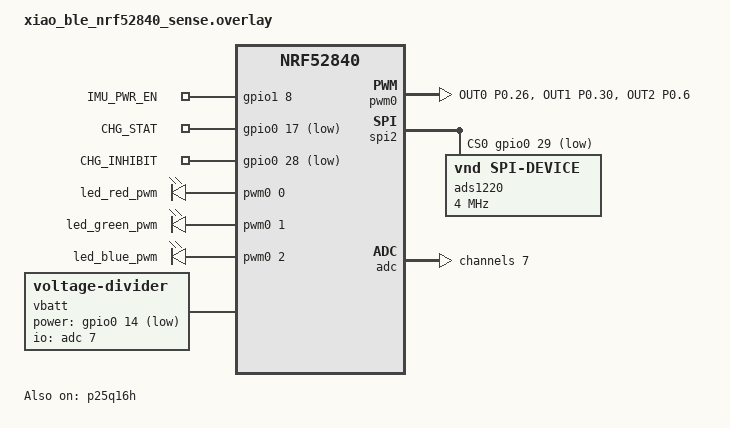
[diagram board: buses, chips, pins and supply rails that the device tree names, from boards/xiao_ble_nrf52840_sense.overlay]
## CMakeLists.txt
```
#
# Low-power BLE NUS demo for Seeed XIAO nRF52840 Sense
# nRF Connect SDK v3.3.0
#
cmake_minimum_required(VERSION 3.20.0)

find_package(Zephyr REQUIRED HINTS $ENV{ZEPHYR_BASE})
project(xiao_lp_ble)

target_sources(app PRIVATE
	src/main.c
	src/ads1220.c
)

target_include_directories(app PRIVATE src)
```

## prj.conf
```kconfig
#######################################################################
# prj.conf - Low-power BLE NUS for XIAO nRF52840 Sense (NCS v3.3.0)
#
# Goal: minimum standby (System ON idle) current while
#   - advertising every 1.5 s
#   - streaming weight + temperature over NUS once connected
#
# All non-essential peripherals are disabled. Console/UART are off so
# the CPU can hit the WFE idle path and the HFCLK can stop between
# radio events. RTT is also disabled here; turn it on temporarily for
# debug only - it costs current.
#######################################################################

# ---- Bluetooth core -------------------------------------------------
CONFIG_BT=y
CONFIG_BT_PERIPHERAL=y
CONFIG_BT_DEVICE_NAME="Bluemax_dev"
CONFIG_BT_DEVICE_APPEARANCE=0
CONFIG_BT_MAX_CONN=1
CONFIG_BT_MAX_PAIRED=1
CONFIG_BT_GATT_DYNAMIC_DB=y

# Coded PHY (125 kbps, S=8 FEC) — request after connection if peer supports it.
# BT_PHY_UPDATE enables the procedure; BT_USER_PHY_UPDATE exposes bt_conn_le_phy_update().
# BT_CTLR_PHY_CODED tells the SoftDevice Controller to support Coded PHY on the
# radio — without it the controller rejects PHY update requests silently and
# the link stays on 1M PHY regardless of what the host asks for.
CONFIG_BT_PHY_UPDATE=y
CONFIG_BT_USER_PHY_UPDATE=y
CONFIG_BT_CTLR_PHY_CODED=y

# Maximum TX power: +8 dBm (nRF52840 hardware limit).
CONFIG_BT_CTLR_TX_PWR_PLUS_8=y

# ---- Nordic UART Service (peripheral) -------------------------------
CONFIG_BT_NUS=y

# GATT client enables bt_gatt_exchange_mtu() so we can negotiate a larger ATT
# MTU.  Without this, the default ATT MTU is 23 (20-byte payload) which is
# not enough for "P:92 Charge Complete\n" (21 bytes).
CONFIG_BT_GATT_CLIENT=y

# Advertise ATT MTU = 64 in the exchange request so bt_gatt_exchange_mtu()
# negotiates min(64, peer_mtu) >= 64.  ATT payload = 61 bytes, enough for
# the longest P: message "P:100 Charging Inhibited Cold\n" (30 bytes).
# Without this, the request says "my MTU = 23" and negotiation does nothing.
CONFIG_BT_L2CAP_TX_MTU=64

# Explicit pool sizes — belt-and-suspenders against NCS SDC Kconfig overrides.
CONFIG_BT_BUF_ACL_TX_COUNT=6
CONFIG_BT_CONN_TX_MAX=6
CONFIG_BT_ATT_TX_COUNT=6

# ---- Power management ----------------------------------------------
# PM_DEVICE enables pm_device_action_run() used to suspend the QSPI flash.
# System ON idle (WFE) is handled by the idle thread natively on nRF52840;
# CONFIG_PM (SoC-level state transitions) is not needed and not supported
# on this target in NCS v3.3.0.
CONFIG_PM_DEVICE=y

# Tickless kernel is required for the SoC to actually stay asleep
# between events instead of waking up on every system tick.
CONFIG_TICKLESS_KERNEL=y

# Lower the tick rate - reduces the worst-case wake interval the
# kernel may impose. 1 kHz is fine; lower is also OK.
CONFIG_SYS_CLOCK_TICKS_PER_SEC=1000

# ---- Strip everything that costs current ---------------------------
# No console, no shell, no UART.
CONFIG_SERIAL=n
CONFIG_CONSOLE=n
CONFIG_UART_CONSOLE=n
CONFIG_USB_DEVICE_STACK=n
CONFIG_BOOT_BANNER=n
CONFIG_LOG=n
CONFIG_ASSERT=n

# ---- IMU / external flash power-down -------------------------------
# We need device init callbacks to run for the GPIOs and the QSPI
# flash power-down sequence. GPIO driver stays in; QSPI driver too,
# but only briefly so we can issue the DPD command.
CONFIG_GPIO=y
CONFIG_PWM=y
CONFIG_SPI=y
CONFIG_ADC=y

# QSPI / NOR flash driver - on for one-shot DPD, then we let the
# device get suspended.
CONFIG_FLASH=y
CONFIG_NORDIC_QSPI_NOR=y

# ---- Flash layout (no bootloader) ---------------------------------
# The xiao_ble board default sets CONFIG_USE_DT_CODE_PARTITION=y, which
# reads FLASH_LOAD_OFFSET directly from the DTS chosen/code-partition
# node (0x27000 in nrf52840_partition_uf2_sdv7.dtsi — the UF2 bootloader
# layout).  Disabling it lets the Kconfig values below take effect.
# CONFIG_BUILD_OUTPUT_UF2 is also suppressed; we program via SWD only.
CONFIG_USE_DT_CODE_PARTITION=n
CONFIG_BUILD_OUTPUT_UF2=n
CONFIG_FLASH_LOAD_OFFSET=0x0
CONFIG_FLASH_LOAD_SIZE=0x100000

# ---- Misc ----------------------------------------------------------
CONFIG_BT_RX_STACK_SIZE=2048
CONFIG_HEAP_MEM_POOL_SIZE=2048

# Use the Nordic LL with low-power tweaks
CONFIG_BT_LL_SOFTDEVICE=y
```

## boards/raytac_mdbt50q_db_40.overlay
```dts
/*
 * Clean minimal overlay for Raytac MDBT50Q-DB-40 - Bluetooth only
 */

&uart0 { status = "disabled"; };
&uart1 { status = "disabled"; };

&spi2 { status = "disabled"; };
&adc  { status = "disabled"; };
&pwm0 { status = "disabled"; };

/* On-board LEDs */
&led0 { status = "okay"; };
&led1 { status = "okay"; };
&led2 { status = "okay"; };
```

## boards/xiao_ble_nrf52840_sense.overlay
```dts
/*
 * boards/xiao_ble_nrf52840_sense.overlay
 */
#include <dt-bindings/adc/nrf-saadc.h>
#include <dt-bindings/pwm/pwm.h>
/*
 *
 * Low-power overlay for the Seeed XIAO nRF52840 Sense (NCS v3.3.0,
 * board target: xiao_ble/nrf52840/sense).
 *
 *  - Disable the on-board IMU and the I2C bus that serves it.
 *  - Drive P1.08 (IMU/PDM-mic power-enable, active-high) low at boot
 *    via a regulator-fixed node, hard-powering the LSM6DS3TR-C off.
 *  - Disable unused UART/SPI/PWM/ADC nodes so their drivers don't init.
 *  - Override the QSPI 'sleep' pinctrl state so that during sleep the
 *    QSPI CS line stays pulled up rather than floating. Without this,
 *    the P25Q16H can fail to remain in Deep Power Down on the XIAO.
 *    See: zephyrproject-rtos/zephyr#55543 and the Nordic DevZone
 *    thread "External flash to sleep".
 */

/* ------------------------------------------------------------------ *
 *  IMU + its I2C bus
 * ------------------------------------------------------------------ */
&i2c0 {
	status = "disabled";
};

&lsm6ds3tr_c {
	status = "disabled";
};

/* ------------------------------------------------------------------ *
 *  IMU / PDM mic supply switch (P1.08, active-high).
 *
 *  We just expose the pin via a custom node so the application can
 *  drive it low at boot. No regulator framework involved.
 * ------------------------------------------------------------------ */
/ {
	board_pwr: board_pwr {
		compatible = "gpio-keys";   /* generic node with a 'gpios' phandle */
		imu_pwr_gpio: imu_pwr {
			gpios = <&gpio1 8 GPIO_ACTIVE_HIGH>;
			label = "IMU_PWR_EN";
		};
		/* BQ25101 CHG pin — open-drain, driven LOW while charging.
		 * Pull-up required; active-low so gpio_pin_get_dt() returns 1
		 * when charging is in progress. */
		chg_stat_gpio: chg_stat {
			gpios = <&gpio0 17 (GPIO_ACTIVE_LOW | GPIO_PULL_UP)>;
			label = "CHG_STAT";
		};
		/* Charge-inhibit output to BQ25101 CE pin.
		 * Open-drain: floating (high-Z) = charging allowed;
		 * driven LOW = charging inhibited. */
		chg_inhibit_gpio: chg_inhibit {
			gpios = <&gpio0 28 (GPIO_ACTIVE_LOW | GPIO_OPEN_DRAIN)>;
			label = "CHG_INHIBIT";
		};
	};
};

/* ------------------------------------------------------------------ *
 *  Unused peripherals - prevent their drivers from initialising.
 * ------------------------------------------------------------------ */
&uart0 { status = "disabled"; };
&uart1 { status = "disabled"; };

/* ------------------------------------------------------------------ *
 *  RGB LED — charging status indicator
 *
 *  XIAO nRF52840 onboard RGB (common anode → 3.3 V):
 *    Red   cathode → P0.26
 *    Green cathode → P0.30  (driven via PWM0 channel 0 for fade)
 *    Blue  cathode → P0.06
 *
 *  All GPIOs declared ACTIVE_LOW so gpio_pin_set_dt(spec, 1) = LED on.
 *  PWM polarity is inverted: pulse_ns == period_ns = fully on,
 *  pulse_ns == 0 = fully off.
 * ------------------------------------------------------------------ */
&pwm0 {
	status = "okay";
	pinctrl-0 = <&pwm0_led_default>;
	pinctrl-1 = <&pwm0_led_sleep>;
	pinctrl-names = "default", "sleep";
};

/ {
	rgb_pwm_leds {
		compatible = "pwm-leds";
		led_red_pwm: led_red_pwm {
			pwms = <&pwm0 0 PWM_MSEC(1) PWM_POLARITY_INVERTED>;
		};
		led_green_pwm: led_green_pwm {
			pwms = <&pwm0 1 PWM_MSEC(1) PWM_POLARITY_INVERTED>;
		};
		led_blue_pwm: led_blue_pwm {
			pwms = <&pwm0 2 PWM_MSEC(1) PWM_POLARITY_INVERTED>;
		};
	};
};

/* ------------------------------------------------------------------ *
 *  SPI2 (xiao_spi) — ADS1220 temperature/ADC
 *
 *  D8 = P1.13 (SCK), D9 = P1.14 (MISO), D10 = P1.15 (MOSI)
 *  D3 = P0.29 (CS, active-low)
 *
 *  Pinctrl states spi2_default / spi2_sleep are already defined in
 *  xiao_ble-pinctrl.dtsi and referenced by the board's common DTS.
 * ------------------------------------------------------------------ */
&spi2 {
	status = "okay";
	cs-gpios = <&gpio0 29 GPIO_ACTIVE_LOW>;

	ads1220: ads1220@0 {
		compatible = "vnd,spi-device";
		reg = <0>;
		spi-max-frequency = <4000000>;
	};
};

/* ------------------------------------------------------------------ *
 *  SAADC — battery voltage on AIN7 (P0.31).
 *
 *  P0.14 (active-low) enables the voltage divider:
 *    Battery+ ── 1 MΩ ── P0.31/AIN7 ── 510 kΩ ── P0.14
 *
 *  Gain 1/6, internal 0.6 V reference → 3.6 V full scale;
 *  max divided voltage ≈ 1.42 V (at 4.2 V battery), well in range.
 * ------------------------------------------------------------------ */
&adc {
	status = "okay";
	#address-cells = <1>;
	#size-cells = <0>;

	channel@7 {
		reg = <7>;
		zephyr,gain = "ADC_GAIN_1_6";
		zephyr,reference = "ADC_REF_INTERNAL";
		zephyr,acquisition-time = <0>;       /* ADC_ACQ_TIME_DEFAULT */
		zephyr,input-positive = <NRF_SAADC_AIN7>;
		zephyr,resolution = <12>;
		zephyr,oversampling = <4>;
	};
};

/ {
	vbatt: vbatt {
		compatible = "voltage-divider";
		io-channels = <&adc 7>;
		output-ohms = <510000>;             /* lower leg: 510 kΩ */
		full-ohms   = <1510000>;            /* total: 1 MΩ + 510 kΩ */
		power-gpios = <&gpio0 14 GPIO_ACTIVE_LOW>;
	};
};

/* ------------------------------------------------------------------ *
 *  Remove console/uart 'chosen' bindings so nothing drags UART back in.
 * ------------------------------------------------------------------ */
/ {
	chosen {
		/delete-property/ zephyr,console;
		/delete-property/ zephyr,shell-uart;
		/delete-property/ zephyr,uart-mcumgr;
		/delete-property/ zephyr,bt-mon-uart;
		/delete-property/ zephyr,bt-c2h-uart;
	};
};

/* ------------------------------------------------------------------ *
 *  DC/DC regulator (REG1 / buck converter).
 *
 *  CONFIG_SOC_DCDC_NRF52X has no Kconfig prompt in NCS v2.x+ and
 *  cannot be set in prj.conf. Setting regulator-initial-mode here
 *  causes the hidden symbol to be auto-selected by the build system.
 *  The XIAO nRF52840 Sense populates the required 10 µH inductor.
 * ------------------------------------------------------------------ */
&reg1 {
	regulator-initial-mode = <NRF5X_REG_MODE_DCDC>;
};

/* ------------------------------------------------------------------ *
 *  QSPI flash node stays enabled - we DPD it from the application.
 * ------------------------------------------------------------------ */
&p25q16h {
	status = "okay";
};

/* ------------------------------------------------------------------ *
 *  QSPI sleep-state pinctrl override.
 *
 *  Upstream xiao_ble-pinctrl.dtsi disconnects every QSPI pin
 *  (including CSN on P0.25) in the qspi_sleep state. With CS
 *  floating, the P25Q16H either fails to enter DPD or wakes itself
 *  up. We redefine qspi_sleep to keep CSN biased high (chip
 *  deselected) while letting the data lines/SCK go low-power.
 *
 *  Pinctrl 'sleep' is applied by the QSPI driver when its device is
 *  suspended via pm_device_action_run(...SUSPEND).
 * ------------------------------------------------------------------ */
&pinctrl {
	pwm0_led_default: pwm0_led_default {
		group1 {
			psels = <NRF_PSEL(PWM_OUT0, 0, 26)>,  /* Red   P0.26 ch0 */
				<NRF_PSEL(PWM_OUT1, 0, 30)>,  /* Green P0.30 ch1 */
				<NRF_PSEL(PWM_OUT2, 0,  6)>;  /* Blue  P0.06 ch2 */
		};
	};
	pwm0_led_sleep: pwm0_led_sleep {
		group1 {
			psels = <NRF_PSEL(PWM_OUT0, 0, 26)>,
				<NRF_PSEL(PWM_OUT1, 0, 30)>,
				<NRF_PSEL(PWM_OUT2, 0,  6)>;
			low-power-enable;
		};
	};

	/omit-if-no-ref/ qspi_sleep: qspi_sleep {
		group1 {
			psels = <NRF_PSEL(QSPI_SCK, 0, 21)>,
				<NRF_PSEL(QSPI_IO0, 0, 20)>,
				<NRF_PSEL(QSPI_IO1, 0, 24)>,
				<NRF_PSEL(QSPI_IO2, 0, 22)>,
				<NRF_PSEL(QSPI_IO3, 0, 23)>;
			low-power-enable;
		};
		group2 {
			psels = <NRF_PSEL(QSPI_CSN, 0, 25)>;
			bias-pull-up;
		};
	};
};
```

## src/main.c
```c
/*
 * Low-power BLE NUS demo for Seeed XIAO nRF52840 Sense
 * nRF Connect SDK v3.3.0
 *
 *  - Advertising interval: 1.5 s
 *  - When connected:
 *      · weight in lbs (1 d.p.) over NUS every 500 ms
 *      · raw ADC count over NUS every 500 ms
 *      · internal temperature over NUS every 5 s
 *  - ADS1220 on SPI2: D8=SCK, D9=MISO, D10=MOSI, D3=~CS
 *  - IMU (LSM6DS3TR-C) and PDM mic are unpowered (P1.08 = 0)
 *  - External QSPI flash (P25Q16H) is in Deep Power Down
 *  - CPU spends idle time in System ON (WFE)
 */

#include <zephyr/kernel.h>
#include <zephyr/device.h>
#include <zephyr/devicetree.h>
#include <zephyr/drivers/adc.h>
#include <zephyr/drivers/gpio.h>
#include <zephyr/drivers/pwm.h>
#include <zephyr/pm/device.h>
#include <hal/nrf_power.h>

#include <zephyr/bluetooth/bluetooth.h>
#include <zephyr/bluetooth/conn.h>
#include <zephyr/bluetooth/gap.h>
#include <zephyr/bluetooth/gatt.h>
#include <zephyr/bluetooth/uuid.h>

#include <bluetooth/services/nus.h>

#include "ads1220.h"

/* -------------------------------------------------------------------------
 * Configuration
 * ------------------------------------------------------------------------- */

#define ADV_INTERVAL_MIN    2400U   /* 2400 × 0.625 ms = 1500 ms */
#define ADV_INTERVAL_MAX    2400U

#define LOAD_PERIOD_MS       500
#define TEMP_EVERY_N_CYCLES  10     /* temperature every 10th load cycle = 5 s */
#define BATT_EVERY_N_CYCLES  20     /* TODO: change to 120 (60 s) for final version; 20 = 10 s for testing */

#define CONN_INTERVAL_MIN   320     /* 1.25 ms units → 400 ms */
#define CONN_INTERVAL_MAX   400     /* 1.25 ms units → 500 ms */
#define CONN_LATENCY        0
#define CONN_TIMEOUT        400     /* 10 ms units  → 4 s */

/* -------------------------------------------------------------------------
 * ASCII formatting helpers (no floating-point printf needed)
 * ------------------------------------------------------------------------- */

/* "W:±XXXXX.X\n"  — weight in lbs to 1 decimal place */
static int format_weight(char *buf, int32_t weight_x10)
{
	char *p = buf;

	*p++ = 'W';
	*p++ = ':';
	if (weight_x10 < 0) {
		*p++ = '-';
		weight_x10 = -weight_x10;
	}

	int32_t i = weight_x10 / 10;
	int32_t f = weight_x10 % 10;

	char tmp[8];
	int n = 0;
	uint32_t v = (uint32_t)i;

	if (v == 0) {
		tmp[n++] = '0';
	} else {
		while (v > 0) {
			tmp[n++] = '0' + (v % 10);
			v /= 10;
		}
	}
	for (int j = n - 1; j >= 0; j--) {
		*p++ = tmp[j];
	}

	*p++ = '.';
	*p++ = '0' + f;
	*p++ = '\n';

	return (int)(p - buf);
}

/* "R:±XXXXXXXX\n"  — raw 24-bit ADC count (averaged in L mode) */
static int format_raw(char *buf, int32_t raw)
{
	char *p = buf;

	*p++ = 'R';
	*p++ = ':';
	if (raw < 0) {
		*p++ = '-';
		raw = -raw;
	}

	char tmp[8];
	int n = 0;
	uint32_t v = (uint32_t)raw;

	if (v == 0) {
		tmp[n++] = '0';
	} else {
		while (v > 0) {
			tmp[n++] = '0' + (v % 10);
			v /= 10;
		}
	}
	for (int i = n - 1; i >= 0; i--) {
		*p++ = tmp[i];
	}
	*p++ = '\n';

	return (int)(p - buf);
}

typedef enum {
	CHARGE_NONE,           /* no VBUS */
	CHARGE_ACTIVE,         /* VBUS present, temperature OK, charging */
	CHARGE_COMPLETE,       /* VBUS present, temperature OK, charge complete */
	CHARGE_INHIBIT_COLD,   /* VBUS present, temperature below 0 °C */
	CHARGE_INHIBIT_HOT,    /* VBUS present, temperature above 50 °C */
} charge_state_t;

/* "B:X.XX\n"  — battery voltage in volts to 2 decimal places */
static int format_batt(char *buf, int32_t mv)
{
	char *p = buf;

	*p++ = 'B';
	*p++ = ':';

	int32_t v = mv / 1000;
	int32_t f = (mv % 1000) / 10;

	*p++ = '0' + v;
	*p++ = '.';
	*p++ = '0' + f / 10;
	*p++ = '0' + f % 10;
	*p++ = '\n';

	return (int)(p - buf);
}

/* "P:XX\n" with an optional suffix depending on charging state.
 * Max: "P:100 Charging Inhibited Cold\n" = 30 chars.
 * Requires ATT MTU ≥ 33 bytes; requested via bt_gatt_exchange_mtu() on connect. */
static int format_soc(char *buf, int32_t pct, charge_state_t state)
{
	char *p = buf;

	*p++ = 'P';
	*p++ = ':';
	if (pct >= 100) {
		*p++ = '1'; *p++ = '0'; *p++ = '0';
	} else {
		if (pct >= 10) {
			*p++ = '0' + pct / 10;
		}
		*p++ = '0' + pct % 10;
	}

	const char *suffix;
	switch (state) {
	case CHARGE_ACTIVE:        suffix = " Charging";    break;
	case CHARGE_COMPLETE:      suffix = " Charged";     break;
	case CHARGE_INHIBIT_COLD:  suffix = " ChgStop Cold"; break;
	case CHARGE_INHIBIT_HOT:   suffix = " ChgStop Hot";  break;
	default:                   suffix = "";              break;
	}
	while (*suffix) {
		*p++ = *suffix++;
	}
	*p++ = '\n';

	return (int)(p - buf);
}

/* "T:±XX.XX\n"  — temperature in °C to 2 decimal places */
static int format_temp(char *buf, int32_t centideg)
{
	char *p = buf;

	*p++ = 'T';
	*p++ = ':';
	if (centideg < 0) {
		*p++ = '-';
		centideg = -centideg;
	}

	int32_t d = centideg / 100;
	int32_t f = centideg % 100;

	if (d >= 100) { *p++ = '0' +  d / 100;       }
	if (d >=  10) { *p++ = '0' + (d /  10) % 10; }
	               *p++ = '0' +  d % 10;

	*p++ = '.';
	*p++ = '0' + f / 10;
	*p++ = '0' + f % 10;
	*p++ = '\n';

	return (int)(p - buf);
}

/* -------------------------------------------------------------------------
 * State
 * ------------------------------------------------------------------------- */

static struct bt_conn *current_conn;
static struct k_work adv_work;

/* Calibration: two known points (raw count → lbs).
 * Updated at runtime via NUS 'C' commands. */
static volatile int32_t cal_zero_raw   = -137312;  /* raw count at 0 lbs */
static volatile int32_t cal_span_raw   =  3793638; /* raw count at cal_span_lbs */
static volatile int32_t cal_span_lbs   =  4394;    /* lbs at the span point */
static volatile int      cal_pending    = 0;        /* 0=none, 1=zero, 2=span */
static volatile int32_t  cal_pending_lbs = 0;

#define VBATT_NODE DT_PATH(vbatt)

static const struct adc_dt_spec batt_adc = ADC_DT_SPEC_GET(VBATT_NODE);
static const struct gpio_dt_spec batt_en  = GPIO_DT_SPEC_GET(VBATT_NODE, power_gpios);

/* Returns true when USB VBUS > ~4.4 V (charger connected).
 * Reads the nRF52840 hardware USBDETECT comparator — no USB stack required. */
static bool vbus_present(void)
{
	return nrf_power_usbregstatus_vbusdet_get(NRF_POWER);
}

static const struct gpio_dt_spec chg_stat =
	GPIO_DT_SPEC_GET(DT_NODELABEL(chg_stat_gpio), gpios);
static const struct gpio_dt_spec chg_inhibit =
	GPIO_DT_SPEC_GET(DT_NODELABEL(chg_inhibit_gpio), gpios);

static const struct pwm_dt_spec pwm_r = PWM_DT_SPEC_GET(DT_NODELABEL(led_red_pwm));
static const struct pwm_dt_spec pwm_g = PWM_DT_SPEC_GET(DT_NODELABEL(led_green_pwm));
static const struct pwm_dt_spec pwm_b = PWM_DT_SPEC_GET(DT_NODELABEL(led_blue_pwm));

/* Latest temperature from ADS1220; pre-loaded to 25 °C so charging is
 * not incorrectly inhibited before the first reading arrives. */
static volatile int32_t latest_temp_centideg = 2500;

static int chg_init(void)
{
	if (!gpio_is_ready_dt(&chg_stat) || !gpio_is_ready_dt(&chg_inhibit)) {
		return -ENODEV;
	}
	gpio_pin_configure_dt(&chg_stat,    GPIO_INPUT);
	gpio_pin_configure_dt(&chg_inhibit, GPIO_OUTPUT_INACTIVE); /* floating = allow */
	return 0;
}

/* Drive P0.28 low to inhibit charging when temperature is out of safe range.
 * VBUS detection is not needed here — inhibiting when VBUS is absent is
 * harmless, and the inhibit must engage regardless of VBUS state. */
static void update_charge_inhibit(int32_t temp_centideg)
{
	if (temp_centideg < 0 || temp_centideg > 5000) {
		gpio_pin_set_dt(&chg_inhibit, 1); /* too cold or too hot — inhibit */
	} else {
		gpio_pin_set_dt(&chg_inhibit, 0); /* temperature OK — allow */
	}
}

static charge_state_t get_charge_state(int32_t temp_centideg)
{
	if (temp_centideg < 0) {
		return CHARGE_INHIBIT_COLD;
	}
	if (temp_centideg > 5000) {
		return CHARGE_INHIBIT_HOT;
	}

	/* Temperature is OK. Use P0.17 (BQ25101 CHG, active-low open-drain) as
	 * the primary VBUS proxy: the charger IC only drives this pin LOW when
	 * VBUS is present and it is actively charging. */
	if (gpio_pin_get_dt(&chg_stat) == 1) { /* active = pin LOW = charging */
		return CHARGE_ACTIVE;
	}

	/* P0.17 is HIGH: VBUS absent, charge complete, or charging inhibited.
	 * POWER.USBREGSTATUS.VBUSDETECT is a hardware comparator that works
	 * without the USB stack; vbus_present() reliably distinguishes the two
	 * cases. */
	return vbus_present() ? CHARGE_COMPLETE : CHARGE_NONE;
}

/* -------------------------------------------------------------------------
 * RGB LED driver
 *
 * All three channels are on PWM0 (common anode, PWM_POLARITY_INVERTED):
 *   ch0 = Red (P0.26), ch1 = Green (P0.30), ch2 = Blue (P0.06)
 * pulse == period → fully on; pulse == 0 → fully off.
 *
 * Public API:
 *   LED_On(colour)    — solid on
 *   LED_Flash(colour) — 2 Hz, 50 % duty
 *   LED_Fade(colour)  — 1 Hz triangle wave (0 → 100 → 0 %)
 *   LED_off()         — all channels off immediately
 *
 * Colours: LED_RED, LED_GREEN, LED_BLUE, LED_YELLOW,
 *          LED_CYAN, LED_MAGENTA, LED_WHITE
 * ------------------------------------------------------------------------- */

#define LED_TICK_MS     50
#define LED_FADE_TICKS  20   /* 20 × 50 ms = 1 000 ms = 1 Hz */
#define LED_FLASH_TICKS 10   /* 10 × 50 ms =   500 ms = 2 Hz */

typedef enum {
	LED_RED = 0, LED_GREEN, LED_BLUE,
	LED_YELLOW, LED_CYAN, LED_MAGENTA, LED_WHITE,
} led_colour_t;

/* R, G, B channel intensities in percent (0–100) */
static const uint8_t colour_rgb[][3] = {
	[LED_RED]     = {100,   0,   0},
	[LED_GREEN]   = {  0, 100,   0},
	[LED_BLUE]    = {  0,   0, 100},
	[LED_YELLOW]  = {100, 100,   0},
	[LED_CYAN]    = {  0, 100, 100},
	[LED_MAGENTA] = {100,   0, 100},
	[LED_WHITE]   = {100, 100, 100},
};

typedef enum { PAT_OFF = 0, PAT_ON, PAT_FLASH, PAT_FADE } led_pattern_t;

static volatile led_colour_t  cur_colour  = LED_GREEN;
static volatile led_pattern_t cur_pattern = PAT_OFF;

static struct k_work  led_work;
static struct k_timer led_timer;

static void leds_drive(uint32_t r, uint32_t g, uint32_t b)
{
	pwm_set_dt(&pwm_r, pwm_r.period, pwm_r.period * r / 100);
	pwm_set_dt(&pwm_g, pwm_g.period, pwm_g.period * g / 100);
	pwm_set_dt(&pwm_b, pwm_b.period, pwm_b.period * b / 100);
}

static void LED_On(led_colour_t c)    { cur_colour = c; cur_pattern = PAT_ON;    }
static void LED_Flash(led_colour_t c) { cur_colour = c; cur_pattern = PAT_FLASH; }
static void LED_Fade(led_colour_t c)  { cur_colour = c; cur_pattern = PAT_FADE;  }
static void LED_off(void)
{
	cur_pattern = PAT_OFF;
	leds_drive(0, 0, 0);
}

/* Translates charger state to LED pattern; acts only on state change. */
static void sync_charge_led(void)
{
	static bool           first = true;
	static charge_state_t last;
	charge_state_t cs = get_charge_state(latest_temp_centideg);

	if (!first && cs == last) {
		return;
	}
	first = false;
	last  = cs;
	switch (cs) {
	case CHARGE_ACTIVE:       LED_Fade(LED_GREEN);  break;
	case CHARGE_COMPLETE:     LED_On(LED_GREEN);    break;
	case CHARGE_INHIBIT_HOT:  LED_Flash(LED_RED);   break;
	case CHARGE_INHIBIT_COLD: LED_Flash(LED_BLUE);  break;
	default:                  LED_off();            break;
	}
}

static void led_work_fn(struct k_work *work)
{
	ARG_UNUSED(work);
	static uint32_t tick;
	tick++;

	sync_charge_led();

	uint32_t scale;
	switch (cur_pattern) {
	case PAT_ON:
		scale = 100;
		break;
	case PAT_FLASH:
		scale = ((tick % LED_FLASH_TICKS) < (LED_FLASH_TICKS / 2)) ? 100 : 0;
		break;
	case PAT_FADE: {
		uint32_t phase = tick % LED_FADE_TICKS;
		uint32_t half  = LED_FADE_TICKS / 2;
		scale = (phase <= half)
			? (phase * 100 / half)
			: ((LED_FADE_TICKS - phase) * 100 / half);
		break;
	}
	default:
		scale = 0;
		break;
	}

	leds_drive(colour_rgb[cur_colour][0] * scale / 100,
		   colour_rgb[cur_colour][1] * scale / 100,
		   colour_rgb[cur_colour][2] * scale / 100);
}

static void led_timer_fn(struct k_timer *timer)
{
	ARG_UNUSED(timer);
	k_work_submit(&led_work);
}

static void led_boot_sequence(void)
{
	if (!device_is_ready(pwm_r.dev)) {
		return;
	}
	leds_drive(100, 100, 100);
	k_sleep(K_MSEC(1000));
	leds_drive(0, 0, 0);
}

static int led_init(void)
{
	if (!device_is_ready(pwm_r.dev)) {
		return -ENODEV;
	}
	LED_off();
	k_work_init(&led_work, led_work_fn);
	k_timer_init(&led_timer, led_timer_fn, NULL);
	k_timer_start(&led_timer, K_MSEC(LED_TICK_MS), K_MSEC(LED_TICK_MS));
	return 0;
}

static int batt_init(void)
{
	if (!adc_is_ready_dt(&batt_adc) || !gpio_is_ready_dt(&batt_en)) {
		return -ENODEV;
	}
	gpio_pin_configure_dt(&batt_en, GPIO_OUTPUT_INACTIVE);
	return adc_channel_setup_dt(&batt_adc);
}

static int batt_read_mv(int32_t *mv_out)
{
	int16_t raw;
	struct adc_sequence seq = {
		.buffer      = &raw,
		.buffer_size = sizeof(raw),
	};
	adc_sequence_init_dt(&batt_adc, &seq);

	gpio_pin_set_dt(&batt_en, 1);
	k_sleep(K_USEC(1000));
	int err = adc_read_dt(&batt_adc, &seq);
	gpio_pin_set_dt(&batt_en, 0);

	if (err) {
		return err;
	}

	int32_t mv = raw;
	err = adc_raw_to_millivolts_dt(&batt_adc, &mv);
	if (err < 0) {
		return err;
	}

	/* Scale from divided voltage back to actual battery voltage */
	*mv_out = (int32_t)((int64_t)mv
		  * DT_PROP(VBATT_NODE, full_ohms)
		  / DT_PROP(VBATT_NODE, output_ohms));
	return 0;
}

/* LiPo discharge curve — linear interpolation between entries.
 * Accuracy ±10-15% in practice due to load-dependent voltage sag. */
static const struct { int32_t mv; int32_t pct; } lipo_curve[] = {
	{ 4200, 100 },
	{ 4100,  90 },
	{ 4000,  80 },
	{ 3900,  70 },
	{ 3800,  60 },
	{ 3700,  50 },
	{ 3600,  40 },
	{ 3500,  30 },
	{ 3400,  20 },
	{ 3300,  10 },
	{ 3000,   0 },
};

static int32_t batt_soc(int32_t mv)
{
	if (mv >= lipo_curve[0].mv) {
		return 100;
	}
	int n = ARRAY_SIZE(lipo_curve);
	if (mv <= lipo_curve[n - 1].mv) {
		return 0;
	}
	for (int i = 0; i < n - 1; i++) {
		if (mv >= lipo_curve[i + 1].mv) {
			int32_t mv_hi  = lipo_curve[i].mv;
			int32_t mv_lo  = lipo_curve[i + 1].mv;
			int32_t pct_hi = lipo_curve[i].pct;
			int32_t pct_lo = lipo_curve[i + 1].pct;
			return pct_lo +
			       (mv - mv_lo) * (pct_hi - pct_lo) / (mv_hi - mv_lo);
		}
	}
	return 0;
}

#define IMU_PWR_NODE  DT_NODELABEL(imu_pwr_gpio)
static const struct gpio_dt_spec imu_pwr_gpio =
	GPIO_DT_SPEC_GET(IMU_PWR_NODE, gpios);

#define QSPI_FLASH_NODE  DT_NODELABEL(p25q16h)

/* -------------------------------------------------------------------------
 * Advertising data
 * ------------------------------------------------------------------------- */

#define DEVICE_NAME      CONFIG_BT_DEVICE_NAME
#define DEVICE_NAME_LEN  (sizeof(DEVICE_NAME) - 1)

static const struct bt_data ad[] = {
	BT_DATA_BYTES(BT_DATA_FLAGS,
		      (BT_LE_AD_GENERAL | BT_LE_AD_NO_BREDR)),
	BT_DATA(BT_DATA_NAME_COMPLETE, DEVICE_NAME, DEVICE_NAME_LEN),
};

static const struct bt_data sd[] = {
	BT_DATA_BYTES(BT_DATA_UUID128_ALL, BT_UUID_NUS_VAL),
};

/* -------------------------------------------------------------------------
 * Connection callbacks
 * ------------------------------------------------------------------------- */

static void mtu_exchange_cb(struct bt_conn *conn, uint8_t err,
			    struct bt_gatt_exchange_params *params)
{
	ARG_UNUSED(conn); ARG_UNUSED(err); ARG_UNUSED(params);
}

static struct bt_gatt_exchange_params mtu_params = {
	.func = mtu_exchange_cb,
};

static void connected(struct bt_conn *conn, uint8_t err)
{
	if (err) {
		return;
	}

	current_conn = bt_conn_ref(conn);

	const struct bt_le_conn_param param = {
		.interval_min = CONN_INTERVAL_MIN,
		.interval_max = CONN_INTERVAL_MAX,
		.latency      = CONN_LATENCY,
		.timeout      = CONN_TIMEOUT,
	};
	(void)bt_conn_le_param_update(conn, &param);

	/* Request Coded PHY (125 kbps, S=8 FEC) for better range.
	 * Falls back silently to 1M PHY if the peer doesn't support it. */
	const struct bt_conn_le_phy_param phy = {
		.options     = BT_CONN_LE_PHY_OPT_CODED_S8,
		.pref_tx_phy = BT_GAP_LE_PHY_CODED,
		.pref_rx_phy = BT_GAP_LE_PHY_CODED,
	};
	(void)bt_conn_le_phy_update(conn, &phy);

	/* Request larger ATT MTU so NUS notifications up to 30 bytes fit.
	 * Without this, the peer may stay at the 23-byte default (20-byte payload)
	 * and longer P: charging-status strings are silently dropped. */
	(void)bt_gatt_exchange_mtu(conn, &mtu_params);
}

static void adv_work_handler(struct k_work *work)
{
	ARG_UNUSED(work);

	struct bt_le_adv_param adv_param = BT_LE_ADV_PARAM_INIT(
		BT_LE_ADV_OPT_CONN,
		ADV_INTERVAL_MIN, ADV_INTERVAL_MAX,
		NULL);

	(void)bt_le_adv_start(&adv_param, ad, ARRAY_SIZE(ad),
			      sd, ARRAY_SIZE(sd));
}

static void disconnected(struct bt_conn *conn, uint8_t reason)
{
	ARG_UNUSED(reason);

	if (current_conn) {
		bt_conn_unref(current_conn);
		current_conn = NULL;
	}

	/* Defer advertising restart — bt_le_adv_start() must not be called
	 * synchronously from the disconnected callback while the stack is
	 * still tearing down the connection. */
	k_work_submit(&adv_work);
}

BT_CONN_CB_DEFINE(conn_callbacks) = {
	.connected    = connected,
	.disconnected = disconnected,
};

/* -------------------------------------------------------------------------
 * NUS callbacks
 * ------------------------------------------------------------------------- */

static void nus_rx_cb(struct bt_conn *conn,
		      const uint8_t *const data, uint16_t len)
{
	ARG_UNUSED(conn);

	if (len == 0) {
		return;
	}

	switch (data[0]) {
	case 'C': case 'c':
		/* C0      → capture next raw reading as the zero (0 lbs) point.
		 * C<N>    → capture next raw reading as the N lbs span point. */
		if (len >= 2) {
			int32_t val = 0;
			for (uint16_t i = 1; i < len; i++) {
				if (data[i] >= '0' && data[i] <= '9') {
					val = val * 10 + (data[i] - '0');
				}
			}
			if (val == 0) {
				cal_pending = 1;
			} else {
				cal_pending_lbs = val;
				cal_pending = 2;
			}
		}
		break;
	default:
		break;
	}
}

static struct bt_nus_cb nus_cbs = {
	.received = nus_rx_cb,
};

/* -------------------------------------------------------------------------
 * Power down on-board peripherals
 * ------------------------------------------------------------------------- */

static void powerdown_onboard_peripherals(void)
{
	if (gpio_is_ready_dt(&imu_pwr_gpio)) {
		(void)gpio_pin_configure_dt(&imu_pwr_gpio,
					    GPIO_OUTPUT_INACTIVE);
	}

	const struct device *qspi =
		DEVICE_DT_GET_OR_NULL(QSPI_FLASH_NODE);

	if (qspi != NULL && device_is_ready(qspi)) {
		(void)pm_device_action_run(qspi, PM_DEVICE_ACTION_SUSPEND);
	}
}

/* -------------------------------------------------------------------------
 * Sensor thread
 *
 * Every 500 ms sends weight in lbs ("W:±XXXXX.X\n") and raw ADC count
 * ("R:±XXXXXXXX\n"). Every 10th cycle (5 s) also sends temperature
 * ("T:±XX.XX\n").
 * ------------------------------------------------------------------------- */

static void sensor_thread(void *a, void *b, void *c)
{
	ARG_UNUSED(a); ARG_UNUSED(b); ARG_UNUSED(c);

	ads1220_init();
	batt_init();
	chg_init();

	uint32_t cycle = 0;

	while (1) {
		k_sleep(K_MSEC(LOAD_PERIOD_MS));
		cycle++;

		/* --- Temperature every 5 s (runs regardless of connection) --- */
		if (cycle % TEMP_EVERY_N_CYCLES == 0) {
			int32_t centideg;
			if (ads1220_read_temp(&centideg) == 0) {
				latest_temp_centideg = centideg;
				update_charge_inhibit(centideg);

				if (current_conn != NULL) {
					char buf[14];
					int len = format_temp(buf, centideg);
					(void)bt_nus_send(current_conn, (uint8_t *)buf, len);
				}
			}
		}

		if (current_conn == NULL) {
			continue;
		}

		/* --- Load measurement ---
		 * On the P: cycle (cycle % BATT_EVERY_N_CYCLES == 1) we still read
		 * the ADS1220 so field calibration always works, but we suppress the
		 * W:/R: sends.  P: is then the only bt_nus_send call that cycle,
		 * avoiding contention for the BLE TX buffer pool. */
		static int32_t batt_mv_cached;
		bool is_soc_cycle = (cycle % BATT_EVERY_N_CYCLES == 1 &&
				     batt_mv_cached != 0);

		int32_t raw;
		if (ads1220_read_load(NULL, &raw) == 0) {
			/* Apply any pending field calibration */
			int pending = cal_pending;
			if (pending == 1) {
				cal_zero_raw = raw;
				cal_pending  = 0;
			} else if (pending == 2) {
				cal_span_raw = raw;
				cal_span_lbs = cal_pending_lbs;
				cal_pending  = 0;
			}

			if (!is_soc_cycle) {
				/* Convert raw count to lbs × 10 */
				int64_t span = (int64_t)cal_span_raw - (int64_t)cal_zero_raw;
				int32_t weight_x10 = 0;
				if (span != 0) {
					weight_x10 = (int32_t)(
						((int64_t)raw - (int64_t)cal_zero_raw)
						* (int64_t)cal_span_lbs * 10LL / span);
				}

				char buf[16];
				int len = format_weight(buf, weight_x10);
				(void)bt_nus_send(current_conn, (uint8_t *)buf, len);
				len = format_raw(buf, raw);
				(void)bt_nus_send(current_conn, (uint8_t *)buf, len);
			}
		}

		/* --- Battery voltage + SoC, staggered across two cycles ---
		 * Cycle N:   read + send B:
		 * Cycle N+1: send P: only (W:/R: suppressed above) */
		if (cycle % BATT_EVERY_N_CYCLES == 0) {
			int32_t batt_mv;
			if (batt_read_mv(&batt_mv) == 0) {
				batt_mv_cached = batt_mv;
				char buf[12];
				int len = format_batt(buf, batt_mv);
				(void)bt_nus_send(current_conn, (uint8_t *)buf, len);
			}
		} else if (is_soc_cycle) {
			char buf[24];
			charge_state_t cs = get_charge_state(latest_temp_centideg);
			int len = format_soc(buf, batt_soc(batt_mv_cached), cs);
			(void)bt_nus_send(current_conn, (uint8_t *)buf, len);
		}
	}
}

K_THREAD_DEFINE(sensor_tid, 2048,
		sensor_thread, NULL, NULL, NULL,
		K_PRIO_PREEMPT(7), 0, 0);

/* -------------------------------------------------------------------------
 * main
 * ------------------------------------------------------------------------- */

int main(void)
{
	int err;

	k_work_init(&adv_work, adv_work_handler);

	led_boot_sequence();
	(void)led_init();

	powerdown_onboard_peripherals();

	err = bt_enable(NULL);
	if (err) {
		return 0;
	}

	err = bt_nus_init(&nus_cbs);
	if (err) {
		return 0;
	}

	struct bt_le_adv_param adv_param = BT_LE_ADV_PARAM_INIT(
		BT_LE_ADV_OPT_CONN,
		ADV_INTERVAL_MIN, ADV_INTERVAL_MAX,
		NULL);

	err = bt_le_adv_start(&adv_param, ad, ARRAY_SIZE(ad),
			      sd, ARRAY_SIZE(sd));
	if (err) {
		return 0;
	}

	return 0;
}
```

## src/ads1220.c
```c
/*
 * ADS1220 driver
 *
 * SPI2 (D8=SCK, D9=MISO, D10=MOSI, D3=~CS), Mode 1, 4 MHz.
 * AIN1(+)/AIN2(-) bridge sense; AVDD/AVSS ratiometric reference + PSW excitation.
 * GAIN = 128 — suits a 2 mV/V load cell driven at AVDD ≈ 3.3 V.
 */

#include "ads1220.h"

#include <zephyr/kernel.h>
#include <zephyr/devicetree.h>
#include <zephyr/drivers/spi.h>

/* -------------------------------------------------------------------------
 * SPI device binding
 * ------------------------------------------------------------------------- */

static const struct spi_dt_spec ads1220_spi = SPI_DT_SPEC_GET(
	DT_NODELABEL(ads1220),
	SPI_OP_MODE_MASTER | SPI_WORD_SET(8) | SPI_MODE_CPHA | SPI_TRANSFER_MSB);

/* -------------------------------------------------------------------------
 * Commands
 * ------------------------------------------------------------------------- */

#define CMD_RESET          0x06
#define CMD_START          0x08
#define CMD_POWERDOWN      0x02
#define CMD_RDATA          0x10
#define CMD_WREG(r, n)     (0x40 | ((r) << 2) | ((n) - 1))

/* -------------------------------------------------------------------------
 * Register values
 *
 * Load mode (regs 0-2):
 *   Reg 0  0x3E  MUX=AIN1(+)/AIN2(-), GAIN=128, PGA on
 *   Reg 1  0x00  20 SPS, normal mode, single-shot, TS=0
 *   Reg 2  0x88  VREF=AVDD/AVSS (ratiometric), PSW=1
 *
 * Temp mode (regs 1-2):
 *   Reg 1  0x02  TS=1
 *   Reg 2  0x00  Internal reference, PSW=0
 * ------------------------------------------------------------------------- */

#define REG0_LOAD      0x3E
#define REG1_LOAD      0x00   /* 20 SPS (DR=000) — ~50 ms conversion */
#define REG2_LOAD      0x88
#define REG1_TEMP      0x02
#define REG2_TEMP      0x00

#define WAIT_MS_LOAD   60     /* 20 SPS: 50 ms + margin */

/* GAIN × 2^23: denominator for the ratiometric mV/V calculation */
#define FULL_SCALE     1073741824LL   /* 128 × 8 388 608 */

/* -------------------------------------------------------------------------
 * Internal helpers
 * ------------------------------------------------------------------------- */

static int send_cmd(uint8_t cmd)
{
	struct spi_buf sb     = { .buf = &cmd, .len = 1 };
	struct spi_buf_set ss = { .buffers = &sb, .count = 1 };
	return spi_write_dt(&ads1220_spi, &ss);
}

static int wreg(uint8_t start_reg, const uint8_t *vals, uint8_t n)
{
	uint8_t tx[5];

	tx[0] = CMD_WREG(start_reg, n);
	for (uint8_t i = 0; i < n; i++) {
		tx[1 + i] = vals[i];
	}

	struct spi_buf tb     = { .buf = tx, .len = 1U + n };
	struct spi_buf_set ts = { .buffers = &tb, .count = 1 };
	return spi_write_dt(&ads1220_spi, &ts);
}

/*
 * Trigger one conversion and clock out the 24-bit result into out[3].
 * Does NOT send POWERDOWN — caller is responsible, allowing multi-sample
 * bursts without re-opening the PSW between samples.
 */
static int start_and_read(uint32_t wait_ms, uint8_t out[3])
{
	if (send_cmd(CMD_START) != 0) {
		return -EIO;
	}

	k_sleep(K_MSEC(wait_ms));

	uint8_t tx[4] = { CMD_RDATA, 0, 0, 0 };
	uint8_t rx[4] = { 0 };
	struct spi_buf txb     = { .buf = tx, .len = 4 };
	struct spi_buf rxb     = { .buf = rx, .len = 4 };
	struct spi_buf_set txs = { .buffers = &txb, .count = 1 };
	struct spi_buf_set rxs = { .buffers = &rxb, .count = 1 };
	if (spi_transceive_dt(&ads1220_spi, &txs, &rxs) != 0) {
		return -EIO;
	}

	/* rx[0] clocked during command byte — discard; rx[1..3] = data */
	out[0] = rx[1];
	out[1] = rx[2];
	out[2] = rx[3];
	return 0;
}

/* Sign-extend 24-bit two's complement raw value to int32_t. */
static int32_t raw24_to_int32(const uint8_t data[3])
{
	int32_t v = ((int32_t)data[0] << 16) |
		    ((int32_t)data[1] << 8)  |
		     (int32_t)data[2];
	return (v << 8) >> 8;   /* arithmetic shift sign-extends bit 23 */
}

/* -------------------------------------------------------------------------
 * Public API
 * ------------------------------------------------------------------------- */

int ads1220_init(void)
{
	if (!spi_is_ready_dt(&ads1220_spi)) {
		return -ENODEV;
	}

	if (send_cmd(CMD_RESET) != 0) {
		return -EIO;
	}

	k_sleep(K_MSEC(1));
	return 0;
}

/* Single-shot at 20 SPS; bridge excited for ~50 ms then POWERDOWN. */
int ads1220_read_load(int32_t *mv_v_x10000, int32_t *raw_out)
{
	static const uint8_t cfg[3] = { REG0_LOAD, REG1_LOAD, REG2_LOAD };

	if (wreg(0, cfg, 3) != 0) {
		return -EIO;
	}

	uint8_t data[3];

	if (start_and_read(WAIT_MS_LOAD, data) != 0) {
		(void)send_cmd(CMD_POWERDOWN);
		return -EIO;
	}

	(void)send_cmd(CMD_POWERDOWN);

	int32_t raw = raw24_to_int32(data);

	if (raw_out != NULL) {
		*raw_out = raw;
	}

	if (mv_v_x10000 != NULL) {
		*mv_v_x10000 = (int32_t)((int64_t)raw * 10000000LL / FULL_SCALE);
	}
	return 0;
}

/*
 * 14-bit two's complement in bits [23:10] of the 24-bit result per the
 * datasheet; right-shift 10 to recover the raw count.  LSB = 0.03125 °C.
 */
int ads1220_read_temp(int32_t *centideg)
{
	static const uint8_t cfg[2] = { REG1_TEMP, REG2_TEMP };

	if (wreg(1, cfg, 2) != 0) {
		return -EIO;
	}

	uint8_t data[3];

	if (start_and_read(60, data) != 0) {
		(void)send_cmd(CMD_POWERDOWN);
		return -EIO;
	}

	(void)send_cmd(CMD_POWERDOWN);

	int32_t raw = ((int32_t)data[0] << 16) |
		      ((int32_t)data[1] << 8)  |
		       (int32_t)data[2];
	/* 14-bit value left-justified in 24-bit word per datasheet; shift right 10.
	 * (raw << 8) >> 18 gives a net right shift of 10 with sign extension. */
	raw = (raw << 8) >> 18;

	*centideg = (raw * 25) / 8;
	return 0;
}
```

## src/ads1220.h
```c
#pragma once

#include <zephyr/types.h>

/*
 * ADS1220 driver — public API
 *
 * Hardware assumed by the implementation (set in the board overlay):
 *   SPI2, Mode 1, 4 MHz, CS = P0.29
 *   AIN1(+) / AIN2(-) = bridge sense
 *   AVDD / AVSS = ratiometric reference and bridge excitation via PSW
 *
 * All functions return 0 on success, negative errno on failure.
 */

/* Reset the ADS1220 and verify the SPI bus is ready. */
int ads1220_init(void);

/*
 * Read bridge load — single-shot at 20 SPS.
 *
 * *mv_v_x10000 — mV/V scaled by 10000 (e.g. 20000 = 2.0000 mV/V). Pass NULL
 *                if not needed.
 * *raw_out     — raw 24-bit signed ADC count. Pass NULL if not needed.
 *
 * The bridge is energised (PSW closed) only for the ~50 ms conversion window.
 */
int ads1220_read_load(int32_t *mv_v_x10000, int32_t *raw_out);

/*
 * Read the ADS1220 internal temperature in centidegrees (°C × 100).
 * e.g. *centideg = 2306 means 23.06 °C.
 */
int ads1220_read_temp(int32_t *centideg);
```
